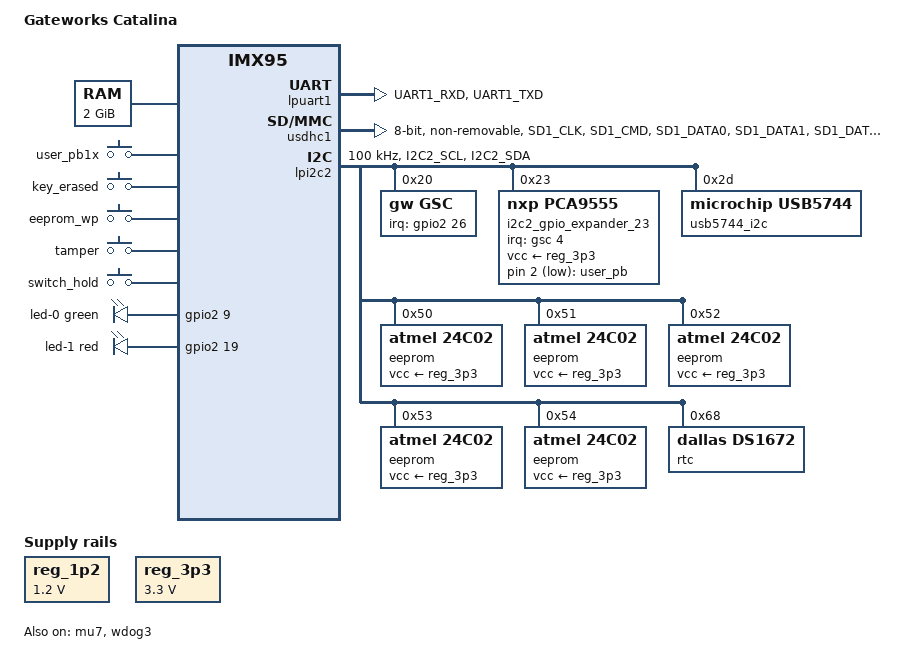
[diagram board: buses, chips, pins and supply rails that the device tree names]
// SPDX-License-Identifier: (GPL-2.0+ OR MIT)
/*
 * Copyright 2025 Gateworks Corporation
 */

/dts-v1/;

#include <dt-bindings/gpio/gpio.h>
#include <dt-bindings/leds/common.h>
#include <dt-bindings/net/ti-dp83867.h>
#include <dt-bindings/pwm/pwm.h>

#include "imx95.dtsi"
#include "imx95-catalina-gw900x.dtsi"

/ {
	model = "Gateworks Catalina";
	compatible = "fsl,imx95";

	aliases {
		gpio0 = &gpio1;
		gpio1 = &gpio2;
		gpio4 = &gpio5;
		i2c0 = &lpi2c1;
		i2c1 = &lpi2c2;
		mmc0 = &usdhc1;
		serial0 = &lpuart1;
	};

	chosen {
		stdout-path = &lpuart1;
	};

	memory@80000000 {
		device_type = "memory";
		reg = <0x0 0x80000000 0 0x80000000>;
	};

	reserved-memory {
		#address-cells = <2>;
		#size-cells = <2>;
		ranges;

		linux_cma: linux,cma {
			compatible = "shared-dma-pool";
			alloc-ranges = <0 0x80000000 0 0x7f000000>;
			size = <0 0x3c000000>;
			linux,cma-default;
			reusable;
		};
	};

	gpio-keys {
		compatible = "gpio-keys";

		key-0 {
			label = "user_pb";
			gpios = <&i2c2_gpio_expander_23 2 GPIO_ACTIVE_LOW>;
			linux,code = <BTN_0>;
		};

		key-1 {
			label = "user_pb1x";
			linux,code = <BTN_1>;
			interrupt-parent = <&gsc>;
			interrupts = <0>;
		};

		key-2 {
			label = "key_erased";
			linux,code = <BTN_2>;
			interrupt-parent = <&gsc>;
			interrupts = <1>;
		};

		key-3 {
			label = "eeprom_wp";
			linux,code = <BTN_3>;
			interrupt-parent = <&gsc>;
			interrupts = <2>;
		};

		key-4 {
			label = "tamper";
			linux,code = <BTN_4>;
			interrupt-parent = <&gsc>;
			interrupts = <5>;
		};

		key-5 {
			label = "switch_hold";
			linux,code = <BTN_5>;
			interrupt-parent = <&gsc>;
			interrupts = <7>;
		};
	};

	led-controller {
		compatible = "gpio-leds";
		pinctrl-names = "default";
		pinctrl-0 = <&pinctrl_led>;

		led-0 {
			function = LED_FUNCTION_STATUS;
			color = <LED_COLOR_ID_GREEN>;
			gpios = <&gpio2 9 GPIO_ACTIVE_HIGH>;
			default-state = "on";
			linux,default-trigger = "heartbeat";
		};

		led-1 {
			function = LED_FUNCTION_STATUS;
			color = <LED_COLOR_ID_RED>;
			gpios = <&gpio2 19 GPIO_ACTIVE_HIGH>;
			default-state = "off";
		};
	};

	reg_1p2: regulator-1p2v {
		compatible = "regulator-fixed";
		regulator-max-microvolt = <1200000>;
		regulator-min-microvolt = <1200000>;
		regulator-name = "VDD_1P2";
	};

	reg_3p3: regulator-3p3v {
		compatible = "regulator-fixed";
		regulator-max-microvolt = <3300000>;
		regulator-min-microvolt = <3300000>;
		regulator-name = "VDD_3P3";
	};
};

/* console */
&lpuart1 {
	pinctrl-names = "default";
	pinctrl-0 = <&pinctrl_uart1>;
	status = "okay";
};

&mu7 {
	status = "okay";
};

/* eMMC */
&usdhc1 {
	pinctrl-names = "default", "state_100mhz", "state_200mhz", "sleep";
	pinctrl-0 = <&pinctrl_usdhc1>;
	pinctrl-1 = <&pinctrl_usdhc1_100mhz>;
	pinctrl-2 = <&pinctrl_usdhc1_200mhz>;
	pinctrl-3 = <&pinctrl_usdhc1>;
	bus-width = <8>;
	non-removable;
	no-sdio;
	no-sd;
	status = "okay";
};

&thermal_zones {
	a55-thermal {
		trips {
			atrip2: trip2 {
				temperature = <55000>;
				hysteresis = <2000>;
				type = "active";
			};

			atrip3: trip3 {
				temperature = <65000>;
				hysteresis = <2000>;
				type = "active";
			};

			atrip4: trip4 {
				temperature = <75000>;
				hysteresis = <2000>;
				type = "active";
			};
		};
	};

	pf09 {
		polling-delay-passive = <250>;
		polling-delay = <2000>;
		thermal-sensors = <&scmi_sensor 2>;
		trips {
			pf09_alert: trip0 {
				temperature = <140000>;
				hysteresis = <2000>;
				type = "passive";
			};

			pf09_crit: trip1 {
				temperature = <155000>;
				hysteresis = <2000>;
				type = "critical";
			};
		};
	};

	pf53_arm {
		polling-delay-passive = <250>;
		polling-delay = <2000>;
		thermal-sensors = <&scmi_sensor 4>;
		trips {
			pf5301_alert: trip0 {
				temperature = <140000>;
				hysteresis = <2000>;
				type = "passive";
			};

			pf5301_crit: trip1 {
				temperature = <155000>;
				hysteresis = <2000>;
				type = "critical";
			};
		};

		cooling-maps {
			map0 {
				trip = <&pf5301_alert>;
				cooling-device =
					<&A55_0 THERMAL_NO_LIMIT THERMAL_NO_LIMIT>,
					<&A55_1 THERMAL_NO_LIMIT THERMAL_NO_LIMIT>,
					<&A55_2 THERMAL_NO_LIMIT THERMAL_NO_LIMIT>,
					<&A55_3 THERMAL_NO_LIMIT THERMAL_NO_LIMIT>,
					<&A55_4 THERMAL_NO_LIMIT THERMAL_NO_LIMIT>,
					<&A55_5 THERMAL_NO_LIMIT THERMAL_NO_LIMIT>;
			};
		};
	};

	pf53_soc {
		polling-delay-passive = <250>;
		polling-delay = <2000>;
		thermal-sensors = <&scmi_sensor 3>;
		trips {
			pf5302_alert: trip0 {
				temperature = <140000>;
				hysteresis = <2000>;
				type = "passive";
			};

			pf5302_crit: trip1 {
				temperature = <155000>;
				hysteresis = <2000>;
				type = "critical";
			};
		};
	};
};

&lpi2c2 {
	clock-frequency = <100000>;
	pinctrl-names = "default";
	pinctrl-0 = <&pinctrl_lpi2c2>;
	status = "okay";

	gsc: gsc@20 {
		compatible = "gw,gsc";
		reg = <0x20>;
		pinctrl-names = "default";
		pinctrl-0 = <&pinctrl_gsc>;
		interrupt-parent = <&gpio2>;
		interrupts = <26 IRQ_TYPE_EDGE_FALLING>;
		interrupt-controller;
		#interrupt-cells = <1>;
		#address-cells = <1>;
		#size-cells = <0>;

		adc {
			compatible = "gw,gsc-adc";
			#address-cells = <1>;
			#size-cells = <0>;

			channel@6 {
				gw,mode = <0>;
				reg = <0x06>;
				label = "temp";
			};

			channel@8 {
				gw,mode = <3>;
				reg = <0x08>;
				label = "vdd_bat";
			};

			channel@16 {
				gw,mode = <4>;
				reg = <0x16>;
				label = "fan_tach";
			};

			channel@82 {
				gw,mode = <2>;
				reg = <0x82>;
				label = "vdd_vin";
				gw,voltage-divider-ohms = <22100 1000>;
			};

			channel@88 {
				gw,mode = <2>;
				reg = <0x88>;
				label = "vdd_5p0";
				gw,voltage-divider-ohms = <10000 10000>;
			};

			channel@8c {
				gw,mode = <2>;
				reg = <0x8c>;
				label = "vdd_2p5";
				gw,voltage-divider-ohms = <10000 10000>;
			};

			channel@8e {
				gw,mode = <2>;
				reg = <0x8e>;
				label = "vdd_1p0";
			};

			channel@90 {
				gw,mode = <2>;
				reg = <0x90>;
				label = "vdd_2p0";
			};

			channel@92 {
				gw,mode = <2>;
				reg = <0x92>;
				label = "vdd_1p8";
			};

			channel@98 {
				gw,mode = <2>;
				reg = <0x98>;
				label = "vdd_1p2";
			};

			channel@9a {
				gw,mode = <2>;
				reg = <0x9a>;
				label = "vdd_0p7";
			};

			channel@a2 {
				gw,mode = <2>;
				reg = <0xa2>;
				label = "vdd_gsc";
				gw,voltage-divider-ohms = <10000 10000>;
			};
		};

		fan-controller@0 {
			compatible = "gw,gsc-fan";
			reg = <0x0a>;
		};
	};

	i2c2_gpio_expander_23: gpio@23 {
		compatible = "nxp,pca9555";
		reg = <0x23>;
		gpio-controller;
		#gpio-cells = <2>;
		interrupt-parent = <&gsc>;
		interrupts = <4>;
		vcc-supply = <&reg_3p3>;
	};

	usb5744_i2c: usbhub@2d {
		compatible = "microchip,usb5744";
		reg = <0x2d>;
	};

	eeprom@50 {
		compatible = "atmel,24c02";
		reg = <0x50>;
		pagesize = <16>;
		vcc-supply = <&reg_3p3>;
	};

	eeprom@51 {
		compatible = "atmel,24c02";
		reg = <0x51>;
		pagesize = <16>;
		vcc-supply = <&reg_3p3>;
	};

	eeprom@52 {
		compatible = "atmel,24c02";
		reg = <0x52>;
		pagesize = <16>;
		vcc-supply = <&reg_3p3>;
	};

	eeprom@53 {
		compatible = "atmel,24c02";
		reg = <0x53>;
		pagesize = <16>;
		vcc-supply = <&reg_3p3>;
	};

	eeprom@54 {
		compatible = "atmel,24c02";
		reg = <0x54>;
		pagesize = <16>;
		vcc-supply = <&reg_3p3>;
	};

	rtc@68 {
		compatible = "dallas,ds1672";
		reg = <0x68>;
	};
};

&wdog3 {
	fsl,ext-reset-output;
	status = "okay";
};

&scmi_iomuxc {
	pinctrl_emdio: emdiogrp {
		fsl,pins = <
			IMX95_PAD_ENET1_MDC__NETCMIX_TOP_NETC_MDC		0x50e
			IMX95_PAD_ENET1_MDIO__NETCMIX_TOP_NETC_MDIO		0x90e
		>;
	};

	pinctrl_enetc0: enetc0grp {
		fsl,pins = <
			IMX95_PAD_ENET1_TD3__NETCMIX_TOP_ETH0_RGMII_TD3		0x50e
			IMX95_PAD_ENET1_TD2__NETCMIX_TOP_ETH0_RGMII_TD2		0x50e
			IMX95_PAD_ENET1_TD1__NETCMIX_TOP_ETH0_RGMII_TD1		0x50e
			IMX95_PAD_ENET1_TD0__NETCMIX_TOP_ETH0_RGMII_TD0		0x50e
			IMX95_PAD_ENET1_TX_CTL__NETCMIX_TOP_ETH0_RGMII_TX_CTL	0x57e
			IMX95_PAD_ENET1_TXC__NETCMIX_TOP_ETH0_RGMII_TX_CLK	0x58e
			IMX95_PAD_ENET1_RX_CTL__NETCMIX_TOP_ETH0_RGMII_RX_CTL	0x57e
			IMX95_PAD_ENET1_RXC__NETCMIX_TOP_ETH0_RGMII_RX_CLK	0x58e
			IMX95_PAD_ENET1_RD0__NETCMIX_TOP_ETH0_RGMII_RD0		0x57e
			IMX95_PAD_ENET1_RD1__NETCMIX_TOP_ETH0_RGMII_RD1		0x57e
			IMX95_PAD_ENET1_RD2__NETCMIX_TOP_ETH0_RGMII_RD2		0x57e
			IMX95_PAD_ENET1_RD3__NETCMIX_TOP_ETH0_RGMII_RD3		0x57e
		>;
	};

	pinctrl_gsc: gscgrp {
		fsl,pins = <
			IMX95_PAD_GPIO_IO26__GPIO2_IO_BIT26			0x31e
		>;
	};

	pinctrl_led: ledgrp {
		fsl,pins = <
			IMX95_PAD_GPIO_IO09__GPIO2_IO_BIT9	0x2
			IMX95_PAD_GPIO_IO19__GPIO2_IO_BIT19	0x2
		>;
	};

	pinctrl_lpi2c2: lpi2c2grp {
		fsl,pins = <
			IMX95_PAD_I2C2_SCL__AONMIX_TOP_LPI2C2_SCL	0x40000b9e
			IMX95_PAD_I2C2_SDA__AONMIX_TOP_LPI2C2_SDA	0x40000b9e
		>;
	};

	pinctrl_uart1: uart1grp {
		fsl,pins = <
			IMX95_PAD_UART1_RXD__AONMIX_TOP_LPUART1_RX      0x31e
			IMX95_PAD_UART1_TXD__AONMIX_TOP_LPUART1_TX      0x31e
		>;
	};

	pinctrl_usdhc1: usdhc1grp {
		fsl,pins = <
			IMX95_PAD_SD1_CLK__USDHC1_CLK			0x158e
			IMX95_PAD_SD1_CMD__USDHC1_CMD			0x138e
			IMX95_PAD_SD1_DATA0__USDHC1_DATA0		0x138e
			IMX95_PAD_SD1_DATA1__USDHC1_DATA1		0x138e
			IMX95_PAD_SD1_DATA2__USDHC1_DATA2		0x138e
			IMX95_PAD_SD1_DATA3__USDHC1_DATA3		0x138e
			IMX95_PAD_SD1_DATA4__USDHC1_DATA4		0x138e
			IMX95_PAD_SD1_DATA5__USDHC1_DATA5		0x138e
			IMX95_PAD_SD1_DATA6__USDHC1_DATA6		0x138e
			IMX95_PAD_SD1_DATA7__USDHC1_DATA7		0x138e
			IMX95_PAD_SD1_STROBE__USDHC1_STROBE		0x158e
		>;
	};

	pinctrl_usdhc1_100mhz: usdhc1-100mhzgrp {
		fsl,pins = <
			IMX95_PAD_SD1_CLK__USDHC1_CLK			0x158e
			IMX95_PAD_SD1_CMD__USDHC1_CMD			0x138e
			IMX95_PAD_SD1_DATA0__USDHC1_DATA0		0x138e
			IMX95_PAD_SD1_DATA1__USDHC1_DATA1		0x138e
			IMX95_PAD_SD1_DATA2__USDHC1_DATA2		0x138e
			IMX95_PAD_SD1_DATA3__USDHC1_DATA3		0x138e
			IMX95_PAD_SD1_DATA4__USDHC1_DATA4		0x138e
			IMX95_PAD_SD1_DATA5__USDHC1_DATA5		0x138e
			IMX95_PAD_SD1_DATA6__USDHC1_DATA6		0x138e
			IMX95_PAD_SD1_DATA7__USDHC1_DATA7		0x138e
			IMX95_PAD_SD1_STROBE__USDHC1_STROBE		0x158e
		>;
	};

	pinctrl_usdhc1_200mhz: usdhc1-200mhzgrp {
		fsl,pins = <
			IMX95_PAD_SD1_CLK__USDHC1_CLK			0x15fe
			IMX95_PAD_SD1_CMD__USDHC1_CMD			0x13fe
			IMX95_PAD_SD1_DATA0__USDHC1_DATA0		0x13fe
			IMX95_PAD_SD1_DATA1__USDHC1_DATA1		0x13fe
			IMX95_PAD_SD1_DATA2__USDHC1_DATA2		0x13fe
			IMX95_PAD_SD1_DATA3__USDHC1_DATA3		0x13fe
			IMX95_PAD_SD1_DATA4__USDHC1_DATA4		0x13fe
			IMX95_PAD_SD1_DATA5__USDHC1_DATA5		0x13fe
			IMX95_PAD_SD1_DATA6__USDHC1_DATA6		0x13fe
			IMX95_PAD_SD1_DATA7__USDHC1_DATA7		0x13fe
			IMX95_PAD_SD1_STROBE__USDHC1_STROBE		0x15fe
		>;
	};
};
